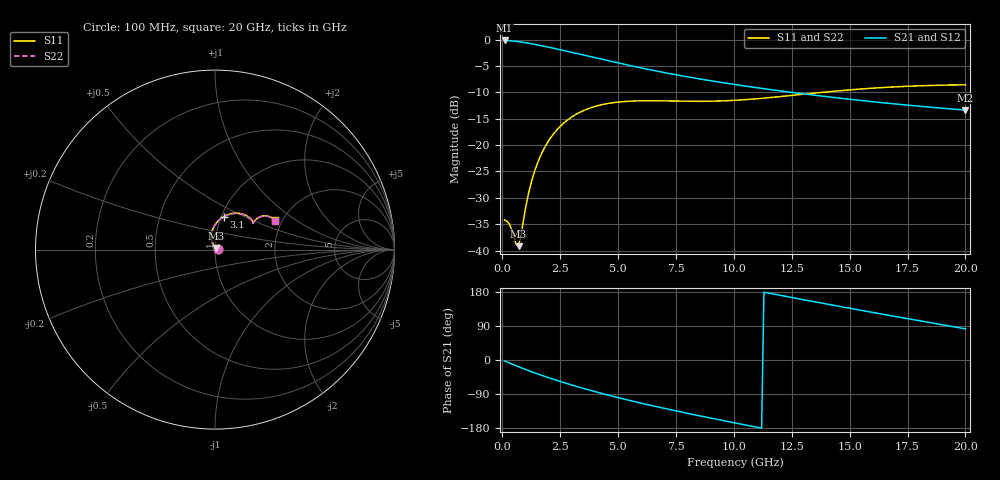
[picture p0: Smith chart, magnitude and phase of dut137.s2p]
! Touchstone file exported from HFSS 2024.1.0
!  File:  C:/UserFiles/LocalFiles/RDL_TSV_Batchsim/temp_RDL_TSV_137_1779428810.aedt
!  Generated:  02:05:36 PM May 22, 2026
!  Design:  RDL_TSV
!  Project:  temp_RDL_TSV_137_1779428810
!  Setup:  Setup1
!  Solution:  Sweep
! Variables:
!  dtsv = 14.29um
!  hbump = 3um
!  htsv = 82.83um
!  ldown = 510.21um
!  lrdl = 606.31um
!  p = 40
!  p1 = 59.14um
!  rhole = 10um
!  subl = 3955.87um
!  t = 450um
!  tdown = 4.52um
!  trdl = 2.87um
!  viad = 10um
!  wdown = 16.75um
!  wrdl = 24.53um
!  xbump = 18um
# GHz S MA R 50.000000
! Terminal data exported
! Port[1] = TM1_1_T1
! Port[2] = TM1_4_T1
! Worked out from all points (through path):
!   200 points, 100 MHz to 20 GHz, reference 50 ohm
!   highest |S21| = -0.18 dB at 100 MHz (marker M1); lowest = -13.4 dB at 20 GHz (marker M2)
!   group delay of S21, straight-line fit = 36.2 ps
!   lowest |S11| = -39.2 dB at 700 MHz (marker M3), VSWR 1.02, Z = 50.5 + j0.978 ohm
!   |S11| at or under -10 dB: start of sweep to 13.85 GHz
!   |S22| runs from -39.2 to -8.6 dB; largest |S21 - S12| = 7.7e-15
!   S11 on the Smith chart (normalised r, x): 100 MHz: 1.04, +0.00; 3.1 GHz: 1.03, +0.39; 20 GHz: 1.84, +0.69
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0.1  0.01942 3.1  0.9797 -2.6  0.9797 -2.6  0.01942 3.1
! Gamma 0 0 0 0
! Port Impedance 50 0 50 0
0.3  0.01787 8.0  0.9741 -7.8  0.9741 -7.8  0.01788 8.0
0.6  0.01137 36.5  0.9598 -15.3  0.9598 -15.3  0.0114 36.1
0.7  0.01099 61.7  0.9538 -17.8  0.9538 -17.8  0.01099 61.2
0.8  0.01356 85.5  0.9473 -20.2  0.9473 -20.2  0.0135 85.0
1  0.02492 106.4  0.9328 -24.9  0.9328 -24.9  0.02476 106.2
1.2  0.04003 110.2  0.9168 -29.5  0.9168 -29.5  0.03979 110.1
1.4  0.05683 108.8  0.8998 -34.0  0.8998 -34.0  0.05651 108.7
1.6  0.07438 105.6  0.8822 -38.3  0.8822 -38.3  0.07399 105.5
1.9  0.1009 99.4  0.8552 -44.7  0.8552 -44.7  0.1004 99.4
2.2  0.1265 93.0  0.8279 -50.7  0.8279 -50.7  0.1259 92.9
2.6  0.1577 84.6  0.7917 -58.6  0.7917 -58.6  0.1569 84.6
3.1  0.1906 75.1  0.7475 -67.8  0.7475 -67.8  0.1897 75.1
3.5  0.2118 68.3  0.7135 -74.9  0.7135 -74.9  0.2107 68.3
4.3  0.2411 57.0  0.6498 -88.4  0.6498 -88.4  0.2399 56.9
5.1  0.2565 48.4  0.593 -100.8  0.593 -100.8  0.2551 48.3
6.8  0.2624 37.6  0.4954 -125.0  0.4954 -125.0  0.261 37.5
8.3  0.2595 34.7  0.4311 -144.5  0.4311 -144.5  0.2582 34.6
10.1  0.2657 35.4  0.3728 -166.7  0.3728 -166.7  0.2644 35.4
13.4  0.3092 36.1  0.2981 154.6  0.2981 154.6  0.3078 36.1
16.7  0.3535 31.5  0.2481 117.8  0.2481 117.8  0.3518 31.3
20  0.3721 25.9  0.2144 82.3  0.2144 82.3  0.3701 25.7
